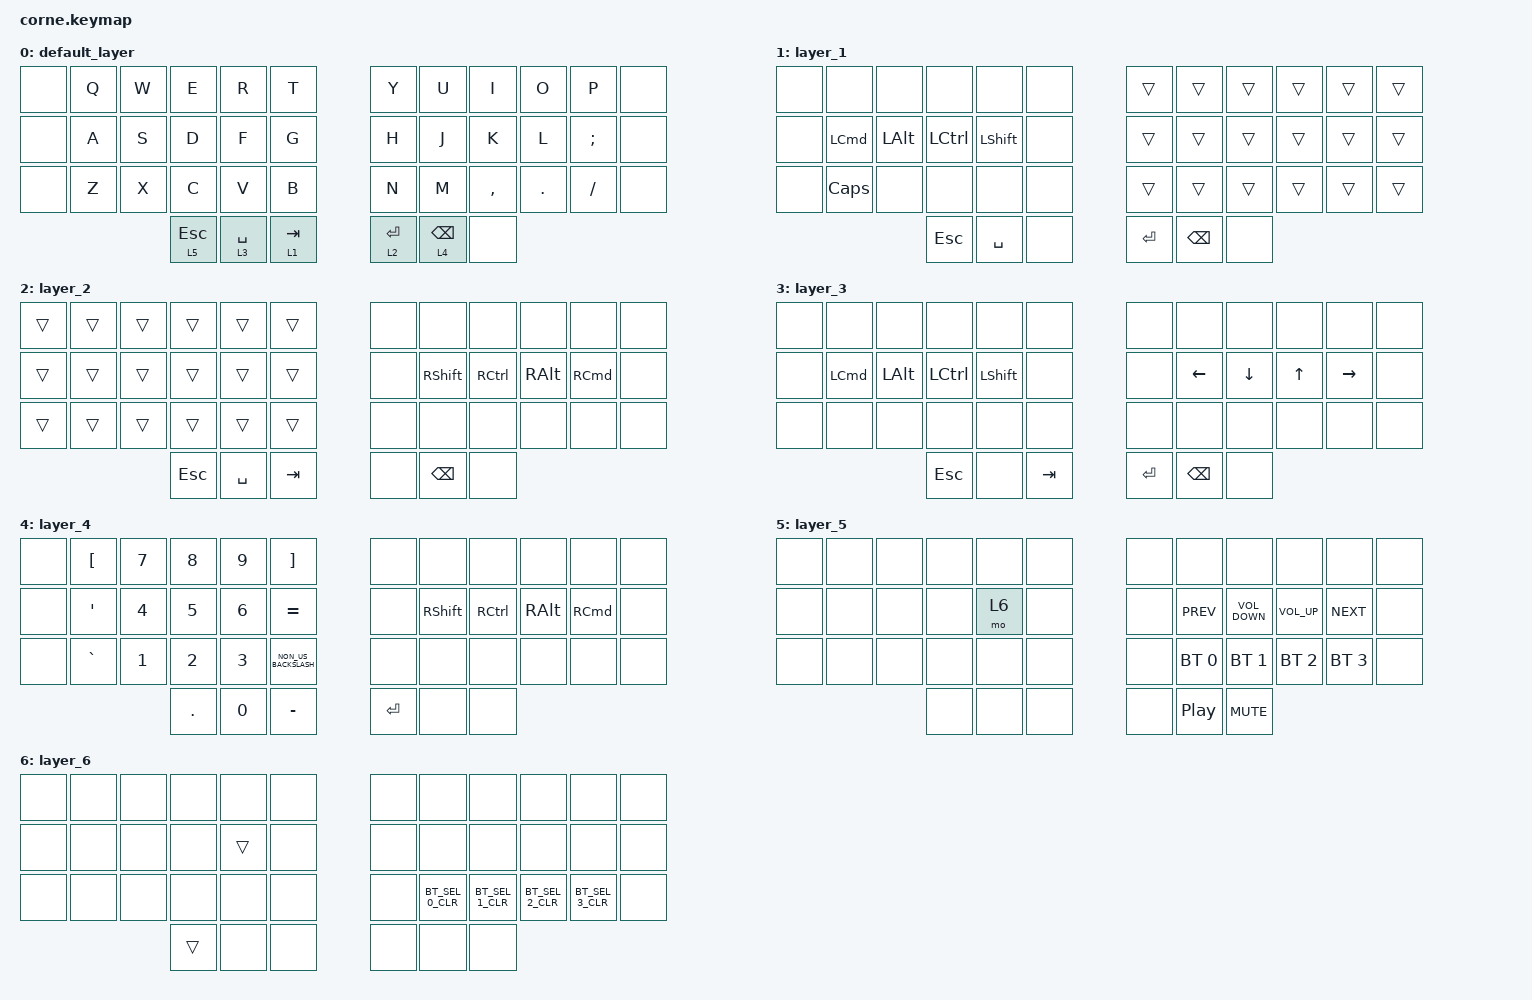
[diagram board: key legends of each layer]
/*
 * Copyright (c) 2020 The ZMK Contributors
 *
 * SPDX-License-Identifier: MIT
 */

#include <behaviors.dtsi>
#include <dt-bindings/zmk/bt.h>
#include <dt-bindings/zmk/keys.h>

/ {
    behaviors {
        hold_tap: hold_tap {
            compatible = "zmk,behavior-hold-tap";
            label = "HOLD_TAP";
            bindings = <&mo>, <&kp>;

            #binding-cells = <2>;
            tapping-term-ms = <200>;
            quick-tap-ms = <175>;
            flavor = "tap-preferred";
        };
    };

    macros {
        BT_SEL_0_CLR: BT_SEL_0_CLR {
            compatible = "zmk,behavior-macro";
            #binding-cells = <0>;
            bindings = <&bt BT_SEL 0 &bt BT_CLR>;
            label = "BT_SEL_0_CLR";
        };

        BT_SEL_1_CLR: BT_SEL_1_CLR {
            compatible = "zmk,behavior-macro";
            #binding-cells = <0>;
            bindings = <&bt BT_SEL 1 &bt BT_CLR>;
            label = "BT_SEL_1_CLR";
        };

        BT_SEL_2_CLR: BT_SEL_2_CLR {
            compatible = "zmk,behavior-macro";
            #binding-cells = <0>;
            bindings = <&bt BT_SEL 2 &bt BT_CLR>;
            label = "BT_SEL_2_CLR";
        };

        BT_SEL_3_CLR: BT_SEL_3_CLR {
            compatible = "zmk,behavior-macro";
            #binding-cells = <0>;
            bindings = <&bt BT_SEL 3 &bt BT_CLR>;
            label = "BT_SEL_3_CLR";
        };
    };

    keymap {
        compatible = "zmk,keymap";

        default_layer {
            // -----------------------------------------------------------------------------------------
            // |  TAB |  Q  |  W  |  E  |  R  |  T  |   |  Y  |  U   |  I  |  O  |  P  | BSPC |
            // | CTRL |  A  |  S  |  D  |  F  |  G  |   |  H  |  J   |  K  |  L  |  ;  |  '   |
            // | SHFT |  Z  |  X  |  C  |  V  |  B  |   |  N  |  M   |  ,  |  .  |  /  | ESC  |
            //                    | GUI | LWR | SPC |   | ENT | RSE  | ALT |

            bindings = <
&none  &kp Q  &kp W  &kp E            &kp R              &kp T              &kp Y              &kp U                  &kp I      &kp O    &kp P     &none
&none  &kp A  &kp S  &kp D            &kp F              &kp G              &kp H              &kp J                  &kp K      &kp L    &kp SEMI  &none
&none  &kp Z  &kp X  &kp C            &kp V              &kp B              &kp N              &kp M                  &kp COMMA  &kp DOT  &kp FSLH  &none
                     &hold_tap 5 ESC  &hold_tap 3 SPACE  &hold_tap 1 TAB    &hold_tap 2 ENTER  &hold_tap 4 BACKSPACE  &none
            >;
        };

        layer_1 {
            bindings = <
&none  &none             &none         &none       &none           &none    &trans     &trans         &trans  &trans  &trans  &trans
&none  &kp LEFT_COMMAND  &kp LEFT_ALT  &kp LCTRL   &kp LEFT_SHIFT  &none    &trans     &trans         &trans  &trans  &trans  &trans
&none  &kp CAPSLOCK      &none         &none       &none           &none    &trans     &trans         &trans  &trans  &trans  &trans
                                       &kp ESCAPE  &kp SPACE       &none    &kp ENTER  &kp BACKSPACE  &none
            >;
        };

        layer_2 {
            bindings = <
&trans  &trans  &trans  &trans      &trans     &trans     &none  &none            &none      &none          &none              &none
&trans  &trans  &trans  &trans      &trans     &trans     &none  &kp RIGHT_SHIFT  &kp RCTRL  &kp RIGHT_ALT  &kp RIGHT_COMMAND  &none
&trans  &trans  &trans  &trans      &trans     &trans     &none  &none            &none      &none          &none              &none
                        &kp ESCAPE  &kp SPACE  &kp TAB    &none  &kp BACKSPACE    &none
            >;
        };

        layer_3 {
            bindings = <
&none  &none             &none         &none       &none           &none      &none      &none           &none           &none         &none            &none
&none  &kp LEFT_COMMAND  &kp LEFT_ALT  &kp LCTRL   &kp LEFT_SHIFT  &none      &none      &kp LEFT_ARROW  &kp DOWN_ARROW  &kp UP_ARROW  &kp RIGHT_ARROW  &none
&none  &none             &none         &none       &none           &none      &none      &none           &none           &none         &none            &none
                                       &kp ESCAPE  &none           &kp TAB    &kp ENTER  &kp BACKSPACE   &none
            >;
        };

        layer_4 {
            bindings = <
&none  &kp LEFT_BRACKET  &kp N7        &kp N8        &kp N9        &kp RIGHT_BRACKET       &none      &none            &none      &none          &none              &none
&none  &kp SINGLE_QUOTE  &kp NUMBER_4  &kp N5        &kp NUMBER_6  &kp EQUAL               &none      &kp RIGHT_SHIFT  &kp RCTRL  &kp RIGHT_ALT  &kp RIGHT_COMMAND  &none
&none  &kp GRAVE         &kp NUMBER_1  &kp NUMBER_2  &kp NUMBER_3  &kp NON_US_BACKSLASH    &none      &none            &none      &none          &none              &none
                                       &kp PERIOD    &kp N0        &kp MINUS               &kp ENTER  &none            &none
            >;
        };

        layer_5 {
            bindings = <
&none  &none  &none  &none  &none  &none    &none  &none             &none              &none            &none         &none
&none  &none  &none  &none  &mo 6  &none    &none  &kp C_PREV        &kp C_VOLUME_DOWN  &kp C_VOLUME_UP  &kp C_NEXT    &none
&none  &none  &none  &none  &none  &none    &none  &bt BT_SEL 0      &bt BT_SEL 1       &bt BT_SEL 2     &bt BT_SEL 3  &none
                     &none  &none  &none    &none  &kp C_PLAY_PAUSE  &kp C_MUTE
            >;
        };

        layer_6 {
            bindings = <
&none  &none  &none  &none   &none   &none    &none  &none          &none          &none          &none          &none
&none  &none  &none  &none   &trans  &none    &none  &none          &none          &none          &none          &none
&none  &none  &none  &none   &none   &none    &none  &BT_SEL_0_CLR  &BT_SEL_1_CLR  &BT_SEL_2_CLR  &BT_SEL_3_CLR  &none
                     &trans  &none   &none    &none  &none          &none
            >;
        };
    };
};
